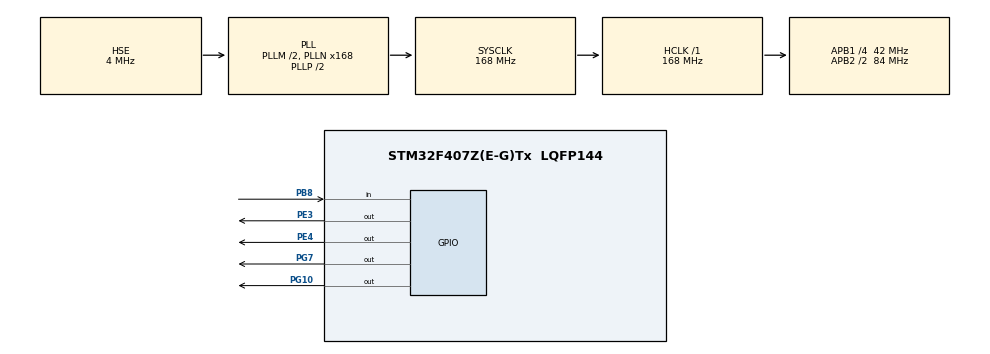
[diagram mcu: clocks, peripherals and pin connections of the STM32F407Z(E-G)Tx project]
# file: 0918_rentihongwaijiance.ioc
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Mcu.Family=STM32F4
Mcu.Name=STM32F407Z(E-G)Tx
Mcu.Package=LQFP144
NVIC.PriorityGroup=NVIC_PRIORITYGROUP_4
PA13.Mode=Serial_Wire
PA13.Signal=SYS_JTMS-SWDIO
PA14.Mode=Serial_Wire
PA14.Signal=SYS_JTCK-SWCLK
PB8.GPIO_Mode=GPIO_MODE_INPUT
PB8.GPIO_PuPd=GPIO_PULLDOWN
PB8.Signal=GPIO_Input
PE3.GPIO_Speed=GPIO_SPEED_FREQ_LOW
PE3.Signal=GPIO_Output
PE4.GPIO_Speed=GPIO_SPEED_FREQ_LOW
PE4.Signal=GPIO_Output
PG10.GPIO_Speed=GPIO_SPEED_FREQ_LOW
PG10.Signal=GPIO_Output
PG7.GPIO_Speed=GPIO_SPEED_FREQ_LOW
PG7.Signal=GPIO_Output
PH0-OSC_IN.Mode=HSE-External-Oscillator
PH0-OSC_IN.Signal=RCC_OSC_IN
PH1-OSC_OUT.Mode=HSE-External-Oscillator
PH1-OSC_OUT.Signal=RCC_OSC_OUT
ProjectManager.HeapSize=0x200
ProjectManager.StackSize=0x400
ProjectManager.TargetToolchain=CMake
RCC.48MHZClocksFreq_Value=84000000
RCC.AHBFreq_Value=168000000
RCC.APB1CLKDivider=RCC_HCLK_DIV4
RCC.APB1Freq_Value=42000000
RCC.APB1TimFreq_Value=84000000
RCC.APB2CLKDivider=RCC_HCLK_DIV2
RCC.APB2Freq_Value=84000000
RCC.APB2TimFreq_Value=168000000
RCC.CortexFreq_Value=168000000
RCC.HCLKFreq_Value=168000000
RCC.HSE_VALUE=4000000
RCC.HSI_VALUE=16000000
RCC.LSE_VALUE=32768
RCC.PLLM=2
RCC.PLLN=168
RCC.PLLSourceVirtual=RCC_PLLSOURCE_HSE
RCC.SYSCLKFreq_VALUE=168000000
RCC.SYSCLKSource=RCC_SYSCLKSOURCE_PLLCLK
RCC.VCOOutputFreq_Value=336000000
board=custom

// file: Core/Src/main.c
/* USER CODE BEGIN Header */
/**
  ******************************************************************************
  * @file           : main.c
  * @brief          : Main program body
  ******************************************************************************
  * @attention
  *
  * Copyright (c) 2025 STMicroelectronics.
  * All rights reserved.
  *
  * This software is licensed under terms that can be found in the LICENSE file
  * in the root directory of this software component.
  * If no LICENSE file comes with this software, it is provided AS-IS.
  *
  ******************************************************************************
  */
/* USER CODE END Header */
#include "main.h"

#include <stdbool.h>

#include "gpio.h"

void SystemClock_Config(void);

/* USER CODE BEGIN 0 */

void RGB_Init(void)
{

  GPIO_InitTypeDef GPIO_InitStruct = {0};

  /* GPIO Ports Clock Enable */
  __HAL_RCC_GPIOE_CLK_ENABLE();
  __HAL_RCC_GPIOG_CLK_ENABLE();

  /*Configure GPIO pin Output Level */
  HAL_GPIO_WritePin(GPIOE, GPIO_PIN_3|GPIO_PIN_4, GPIO_PIN_SET);
  HAL_GPIO_WritePin(GPIOG, GPIO_PIN_10, GPIO_PIN_SET);

  /*Configure GPIO pins : PE3 PE4 */
  GPIO_InitStruct.Pin = GPIO_PIN_3|GPIO_PIN_4;
  GPIO_InitStruct.Mode = GPIO_MODE_OUTPUT_PP;
  GPIO_InitStruct.Pull = GPIO_NOPULL;
  GPIO_InitStruct.Speed = GPIO_SPEED_FREQ_LOW;
  HAL_GPIO_Init(GPIOE, &GPIO_InitStruct);

  /*Configure GPIO pins : PG10 */
  GPIO_InitStruct.Pin = GPIO_PIN_10;
  GPIO_InitStruct.Mode = GPIO_MODE_OUTPUT_PP;
  GPIO_InitStruct.Pull = GPIO_NOPULL;
  GPIO_InitStruct.Speed = GPIO_SPEED_FREQ_LOW;
  HAL_GPIO_Init(GPIOG, &GPIO_InitStruct);

}

void RGB_RedOn(void)
{
  HAL_GPIO_WritePin(GPIOE, GPIO_PIN_3, GPIO_PIN_RESET);
  HAL_GPIO_WritePin(GPIOG, GPIO_PIN_10, GPIO_PIN_SET);
  HAL_GPIO_WritePin(GPIOE, GPIO_PIN_4, GPIO_PIN_SET);
}

void RGB_YellowOn(void)
{
  HAL_GPIO_WritePin(GPIOE, GPIO_PIN_3, GPIO_PIN_RESET);
  HAL_GPIO_WritePin(GPIOG, GPIO_PIN_10, GPIO_PIN_RESET);
  HAL_GPIO_WritePin(GPIOE, GPIO_PIN_4, GPIO_PIN_SET);
}

void RGB_GreenOn(void)
{
  HAL_GPIO_WritePin(GPIOE, GPIO_PIN_3, GPIO_PIN_SET);
  HAL_GPIO_WritePin(GPIOG, GPIO_PIN_10, GPIO_PIN_RESET);
  HAL_GPIO_WritePin(GPIOE, GPIO_PIN_4, GPIO_PIN_SET);
}

void RGB_CyanOn(void)
{
  HAL_GPIO_WritePin(GPIOE, GPIO_PIN_3, GPIO_PIN_SET);
  HAL_GPIO_WritePin(GPIOG, GPIO_PIN_10, GPIO_PIN_RESET);
  HAL_GPIO_WritePin(GPIOE, GPIO_PIN_4, GPIO_PIN_RESET);
}

void RGB_BlueOn(void)
{
  HAL_GPIO_WritePin(GPIOE, GPIO_PIN_3, GPIO_PIN_SET);
  HAL_GPIO_WritePin(GPIOG, GPIO_PIN_10, GPIO_PIN_SET);
  HAL_GPIO_WritePin(GPIOE, GPIO_PIN_4, GPIO_PIN_RESET);
}

void RGB_MegentaOn(void)
{
  HAL_GPIO_WritePin(GPIOE, GPIO_PIN_3, GPIO_PIN_RESET);
  HAL_GPIO_WritePin(GPIOG, GPIO_PIN_10, GPIO_PIN_SET);
  HAL_GPIO_WritePin(GPIOE, GPIO_PIN_4, GPIO_PIN_RESET);
}

void RGB_WhiteOn(void)
{
  HAL_GPIO_WritePin(GPIOE, GPIO_PIN_3, GPIO_PIN_RESET);
  HAL_GPIO_WritePin(GPIOG, GPIO_PIN_10, GPIO_PIN_RESET);
  HAL_GPIO_WritePin(GPIOE, GPIO_PIN_4, GPIO_PIN_RESET);
}

void RGB_Off(void)
{
  HAL_GPIO_WritePin(GPIOE, GPIO_PIN_3, GPIO_PIN_SET);
  HAL_GPIO_WritePin(GPIOG, GPIO_PIN_10, GPIO_PIN_SET);
  HAL_GPIO_WritePin(GPIOE, GPIO_PIN_4, GPIO_PIN_SET);
}
void Beep_Init(void)
{

  GPIO_InitTypeDef GPIO_InitStruct = {0};

  /* GPIO Ports Clock Enable */
  __HAL_RCC_GPIOG_CLK_ENABLE();

  /*Configure GPIO pin Output Level */
  HAL_GPIO_WritePin(GPIOG, GPIO_PIN_7, GPIO_PIN_RESET);

  /*Configure GPIO pins : PG7 */
  GPIO_InitStruct.Pin = GPIO_PIN_7;
  GPIO_InitStruct.Mode = GPIO_MODE_OUTPUT_PP;
  GPIO_InitStruct.Pull = GPIO_NOPULL;
  GPIO_InitStruct.Speed = GPIO_SPEED_FREQ_LOW;
  HAL_GPIO_Init(GPIOG, &GPIO_InitStruct);

}

void Beep_Systolic(void)
{
  HAL_GPIO_WritePin(GPIOG, GPIO_PIN_7, GPIO_PIN_SET);
}

void Beep_Distolic(void)
{
  HAL_GPIO_WritePin(GPIOG, GPIO_PIN_7, GPIO_PIN_RESET);
}

void  triggeredInit(void) {
  GPIO_InitTypeDef GPIO_InitStruct = {0};

  /* GPIO Ports Clock Enable */

  __HAL_RCC_GPIOB_CLK_ENABLE();

  /*Configure GPIO pin Output Level */
  HAL_GPIO_WritePin(GPIOB, GPIO_PIN_8, GPIO_PIN_SET);

  /*Configure GPIO pins : PE3 PE4 */
  GPIO_InitStruct.Pin = GPIO_PIN_8;
  GPIO_InitStruct.Mode = GPIO_MODE_INPUT;
  GPIO_InitStruct.Pull = GPIO_PULLDOWN;
  HAL_GPIO_Init(GPIOB, &GPIO_InitStruct);
}

bool istriggered(void) {
 return(HAL_GPIO_ReadPin(GPIOB, GPIO_PIN_8))
 ;
}

/* USER CODE END 0 */

int main(void)
{

  /* MCU Configuration--------------------------------------------------------*/

  /* Reset of all peripherals, Initializes the Flash interface and the Systick. */
  HAL_Init();

  /* Configure the system clock */
  SystemClock_Config();

  /* Initialize all configured peripherals */
  MX_GPIO_Init();
  /* USER CODE BEGIN 2 */
   RGB_Init();
   Beep_Init();
   triggeredInit();
  /* USER CODE END 2 */

  /* Infinite loop */
  /* USER CODE BEGIN WHILE */
  while (1)
  {

  while (istriggered()) {
    RGB_RedOn();
    HAL_Delay(25);
    RGB_BlueOn();
    HAL_Delay(25);

  }

    /* USER CODE END WHILE */

  }
}

void SystemClock_Config(void)
{
  RCC_OscInitTypeDef RCC_OscInitStruct = {0};
  RCC_ClkInitTypeDef RCC_ClkInitStruct = {0};

  /** Configure the main internal regulator output voltage
  */
  __HAL_RCC_PWR_CLK_ENABLE();
  __HAL_PWR_VOLTAGESCALING_CONFIG(PWR_REGULATOR_VOLTAGE_SCALE1);

  /** Initializes the RCC Oscillators according to the specified parameters
  * in the RCC_OscInitTypeDef structure.
  */
  RCC_OscInitStruct.OscillatorType = RCC_OSCILLATORTYPE_HSE;
  RCC_OscInitStruct.HSEState = RCC_HSE_ON;
  RCC_OscInitStruct.PLL.PLLState = RCC_PLL_ON;
  RCC_OscInitStruct.PLL.PLLSource = RCC_PLLSOURCE_HSE;
  RCC_OscInitStruct.PLL.PLLM = 2;
  RCC_OscInitStruct.PLL.PLLN = 168;
  RCC_OscInitStruct.PLL.PLLP = RCC_PLLP_DIV2;
  RCC_OscInitStruct.PLL.PLLQ = 4;
  if (HAL_RCC_OscConfig(&RCC_OscInitStruct) != HAL_OK)
  {
    Error_Handler();
  }

  /** Initializes the CPU, AHB and APB buses clocks
  */
  RCC_ClkInitStruct.ClockType = RCC_CLOCKTYPE_HCLK|RCC_CLOCKTYPE_SYSCLK
                              |RCC_CLOCKTYPE_PCLK1|RCC_CLOCKTYPE_PCLK2;
  RCC_ClkInitStruct.SYSCLKSource = RCC_SYSCLKSOURCE_PLLCLK;
  RCC_ClkInitStruct.AHBCLKDivider = RCC_SYSCLK_DIV1;
  RCC_ClkInitStruct.APB1CLKDivider = RCC_HCLK_DIV4;
  RCC_ClkInitStruct.APB2CLKDivider = RCC_HCLK_DIV2;

  if (HAL_RCC_ClockConfig(&RCC_ClkInitStruct, FLASH_LATENCY_5) != HAL_OK)
  {
    Error_Handler();
  }
}

void Error_Handler(void)
{
  __disable_irq();
  while (1)
  {
  }
}
